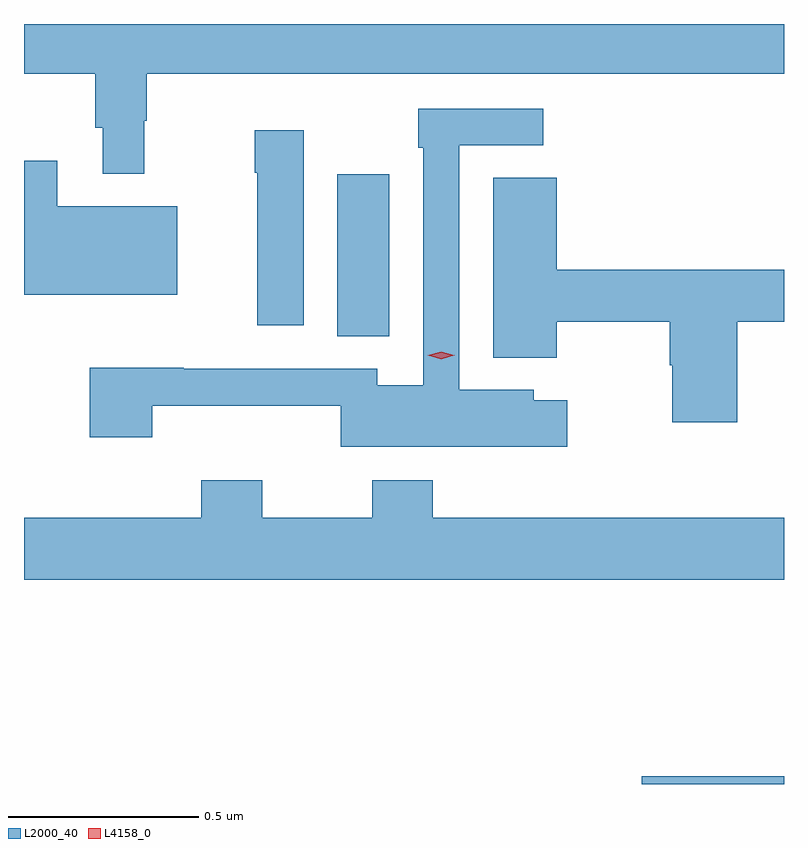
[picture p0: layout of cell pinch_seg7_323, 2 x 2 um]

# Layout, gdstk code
import gdstk
lib = gdstk.Library(unit=1e-6, precision=1e-09)
def R(c, l, rs):  # rectangles x0, y0, x1, y1
    for r in rs: c.add(gdstk.rectangle(r[:2], r[2:], *l))
def P(c, l, *ps):  # polygons
    for p in ps: c.add(gdstk.Polygon(p, *l))
L2000_40 = (2000, 40)
L4158_0 = (4158, 0)

pinch_seg7_323 = lib.new_cell('pinch_seg7_323')
R(pinch_seg7_323, L2000_40, [(546.881,1056.023,547.256,1056.044), (546.08,1057.201,546.217,1057.627)])
P(pinch_seg7_323, L2000_40, [(545.572,1057.769),(545.579,1057.769),(545.579,1057.892),(547.256,1057.892),(547.256,1058.023),(545.256,1058.023),(545.256,1057.892),(545.443,1057.892),(545.443,1057.75),(545.463,1057.75),(545.463,1057.629),(545.572,1057.629)],
  [(546.685,1057.033),(546.597,1057.033),(546.597,1057.06),(546.402,1057.06),(546.402,1057.704),(546.622,1057.704),(546.622,1057.8),(546.294,1057.8),(546.294,1057.697),(546.306,1057.697),(546.306,1057.072),(546.186,1057.072),(546.186,1057.116),(545.677,1057.116),(545.677,1057.118),(545.429,1057.118),(545.429,1056.936),(545.594,1056.936),(545.594,1057.019),(546.09,1057.019),(546.09,1056.911),(546.685,1056.911)],
  [(545.992,1057.744),(545.863,1057.744),(545.863,1057.631),(545.87,1057.631),(545.87,1057.23),(545.992,1057.23)],
  [(545.659,1057.543),(545.344,1057.543),(545.344,1057.663),(545.256,1057.663),(545.256,1057.31),(545.659,1057.31)],
  [(547.133,1057.24),(547.256,1057.24),(547.256,1057.376),(546.658,1057.376),(546.658,1057.619),(546.491,1057.619),(546.491,1057.145),(546.658,1057.145),(546.658,1057.24),(546.955,1057.24),(546.955,1057.125),(546.962,1057.125),(546.962,1056.975),(547.133,1056.975)],
  [(547.256,1056.724),(546.332,1056.724),(546.332,1056.823),(546.172,1056.823),(546.172,1056.724),(545.883,1056.724),(545.883,1056.823),(545.723,1056.823),(545.723,1056.724),(545.256,1056.724),(545.256,1056.56),(547.256,1056.56)])
P(pinch_seg7_323, L4158_0, [(546.354,1057.141),(546.319,1057.151),(546.319,1057.151),(546.319,1057.151),(546.354,1057.161),(546.388,1057.151),(546.389,1057.151),(546.388,1057.151)])

lib.write_gds('pinch_seg7_323.gds')
